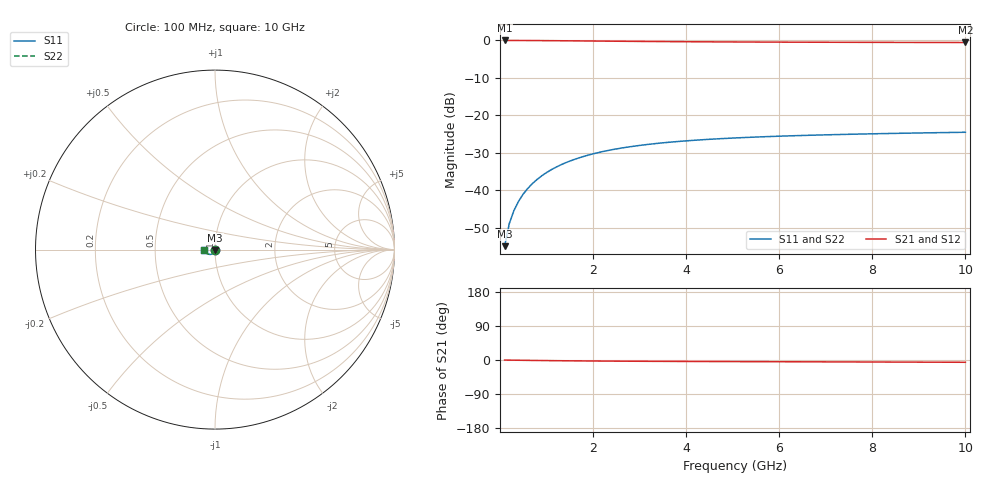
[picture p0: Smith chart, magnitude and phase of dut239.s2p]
! Touchstone file exported from HFSS 2024.1.0
!  File:  C:/UserFiles/LocalFiles/RDL_TSV_Batchsim/temp_TSV1_239_1778768306.aedt
!  Generated:  10:24:53 PM May 14, 2026
!  Design:  TSV1
!  Project:  temp_TSV1_239_1778768306
!  Setup:  Setup1
!  Solution:  Sweep
! Variables:
!  dtsv = 12.8um
!  hbump = 3um
!  htsv = 93.91um
!  lrdl = 252.1521522um
!  p = 40
!  p1 = 58um
!  t = 500um
!  trdl = 3um
!  wrdl = 24.89489489um
# GHz S MA R 50.000000
! Terminal data exported
! Port[1] = TSV22_T1
! Port[2] = TSV22_T2
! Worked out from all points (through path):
!   100 points, 100 MHz to 10 GHz, reference 50 ohm
!   highest |S21| = 0.00 dB at 100 MHz (marker M1); lowest = -0.5 dB at 10 GHz (marker M2)
!   lowest |S11| = -55.0 dB at 100 MHz (marker M3), VSWR 1.00, Z = 50 - j0.179 ohm
!   |S11| at or under -10 dB: start of sweep to end of sweep
!   |S22| runs from -55.0 to -24.5 dB; largest |S21 - S12| = 1.1e-14
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0.1  0.001787 -88.8  0.9998 -0.2  0.9998 -0.2  0.001787 -88.8
! Gamma 0 0 0 0
! Port Impedance 50 0 50 0
0.2  0.003568 -92.2  0.9996 -0.3  0.9996 -0.3  0.003568 -92.2
0.3  0.005347 -94.6  0.9993 -0.5  0.9993 -0.5  0.005347 -94.6
0.4  0.007114 -96.8  0.9989 -0.6  0.9989 -0.6  0.007114 -96.8
0.5  0.008865 -98.9  0.9983 -0.8  0.9983 -0.8  0.008865 -98.9
0.6  0.01059 -100.9  0.9977 -1.0  0.9977 -1.0  0.01059 -100.9
0.7  0.01229 -102.9  0.997 -1.1  0.997 -1.1  0.01229 -102.9
0.8  0.01395 -104.8  0.9961 -1.3  0.9961 -1.3  0.01395 -104.8
0.9  0.01558 -106.7  0.9952 -1.4  0.9952 -1.4  0.01558 -106.7
1.1  0.01872 -110.4  0.9932 -1.7  0.9932 -1.7  0.01872 -110.4
1.4  0.02309 -115.7  0.9899 -2.0  0.9899 -2.0  0.02309 -115.7
1.6  0.02576 -119.0  0.9874 -2.3  0.9874 -2.3  0.02576 -119.0
1.8  0.02825 -122.1  0.985 -2.5  0.985 -2.5  0.02825 -122.1
2.1  0.03164 -126.5  0.9812 -2.7  0.9812 -2.7  0.03164 -126.5
2.5  0.03555 -131.9  0.9764 -3.0  0.9764 -3.0  0.03555 -131.9
2.9  0.03886 -136.7  0.9719 -3.3  0.9719 -3.3  0.03886 -136.7
3.4  0.04228 -142.1  0.9669 -3.6  0.9669 -3.6  0.04228 -142.1
4.2  0.04651 -149.4  0.9602 -3.9  0.9602 -3.9  0.04651 -149.4
5.1  0.05 -156.1  0.9543 -4.3  0.9543 -4.3  0.05 -156.1
6.7  0.05423 -165.7  0.9471 -4.8  0.9471 -4.8  0.05422 -165.7
8.4  0.05723 -173.7  0.9422 -5.4  0.9422 -5.4  0.05723 -173.7
10  0.05936 180.0  0.9391 -6.0  0.9391 -6.0  0.05936 180.0
